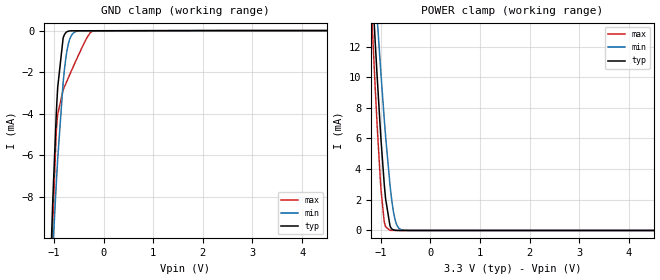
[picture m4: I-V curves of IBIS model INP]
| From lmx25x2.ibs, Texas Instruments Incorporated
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|   Model INP
[Model]   INP
Model_type   Input
Vinl = .4
Vinh = 1.4
|   typ   min   max
|   (nom PVT)   (slow PVT)   (fast PVT)
C_comp   0.097p   0.055p   0.172p
[Voltage Range]   3.3   3   3.6
[Temperature Range]   27   125   -40
[Power Clamp Reference]   3.3   3   3.6
[GND Clamp Reference]   0   0   0
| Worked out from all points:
|   GND clamp passes 1 mA (typ) near -0.84 V on its own axis
|   POWER clamp passes 1 mA (typ) near -0.85 V on its own axis
[GND Clamp]
|   Voltage   I(typ)   I(min)   I(max)
-3.3V     -246.7mA   -151.3mA   -472.5mA
-1.063V   -10.99mA   -12.47mA   -13.38mA
-1.043V   -9.526mA   -11.49mA   -11.15mA
-1.033V   -8.823mA   -11.01mA   -10.14mA
-1.023V   -8.14mA    -10.54mA   -9.21mA
-953.7mV  -4.036mA   -7.394mA   -4.875mA
-924mV    -2.719mA   -6.164mA   -4.026mA
-815.1mV  -359.4uA   -2.508mA   -2.855mA
-726mV    -41.2uA    -819.4uA   -2.358mA
-597.3mV  -10.68uA   -94.98uA   -1.663mA
-211.2mV  -9.103uA   -7.806uA   -22.77uA
6.6V      0A         0A         0A
[POWER Clamp]
|   Voltage   I(typ)   I(min)   I(max)
-3.3V     164.1mA    142.7mA    184.6mA
-1.27V    21.95mA    24.01mA    20.35mA
-1.162V   15.17mA    18.29mA    12.57mA
-1.112V   12.23mA    15.77mA    9.255mA
-1.073V   9.96mA     13.8mA     6.765mA
-993.3mV  5.782mA    10.03mA    2.547mA
-924mV    2.765mA    6.978mA    472uA
-815.1mV  299.5uA    2.966mA    9.519uA
-755.7mV  53.96uA    1.431mA    2.479uA
-696.3mV  9.978uA    523.6uA    1.72uA
-537.9mV  1.219uA    16.89uA    1.015uA
6.6V      0A         0A         0A
